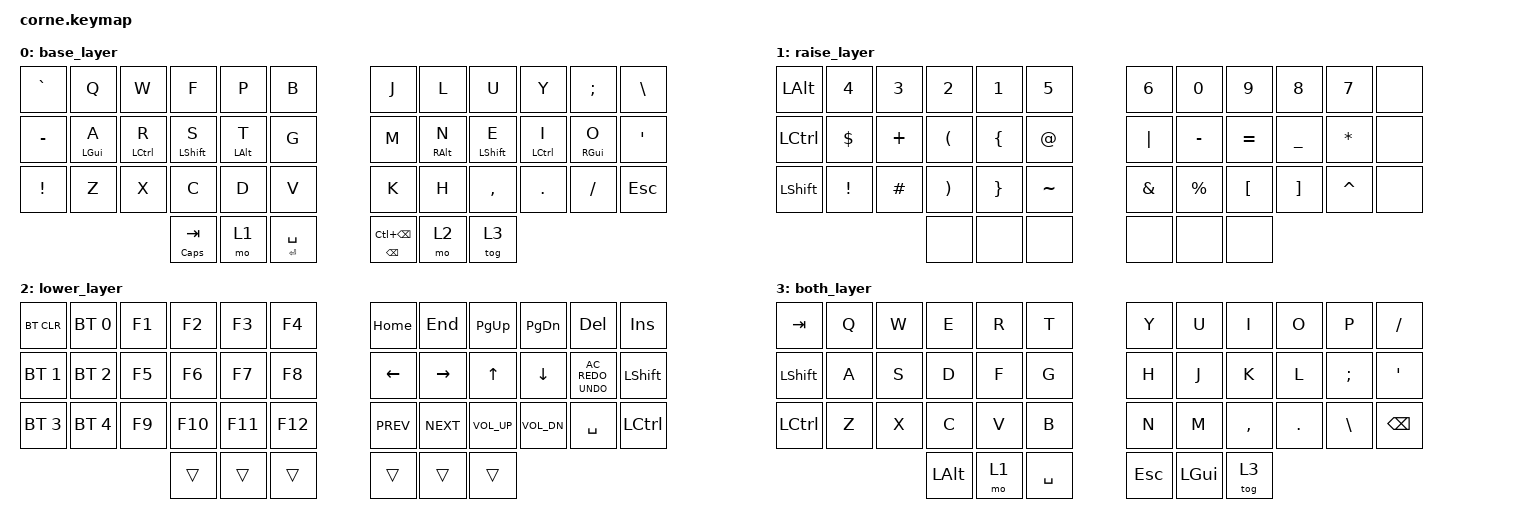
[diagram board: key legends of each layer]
/*
 * Copyright (c) 2020 The ZMK Contributors
 *
 * SPDX-License-Identifier: MIT
 */

#include <behaviors.dtsi>
#include <dt-bindings/zmk/bt.h>
#include <dt-bindings/zmk/keys.h>

#define BASE    0
#define LOWER   1
#define RAISE   2
#define QWERTY  3

&mt {
    tapping-term-ms = <500>;
};

/ {
    conditional_layers {
        compatible = "zmk,conditional-layers";

        tri_layer {
            if-layers = <0 2>;
            then-layer = <3>;
        };
    };

    macros {
        macros: macros {
            compatible = "zmk,behavior-macro";
            #binding-cells = <0>;
            bindings = <&kp LC(BACKSPACE)>, <&macro_press>;

            label = "MACROS";
        };
    };

    keymap {
        compatible = "zmk,keymap";

        base_layer {
            bindings = <
&kp GRAVE  &kp Q       &kp W        &kp F             &kp P       &kp B            &kp J                        &kp L       &kp U             &kp Y        &kp SEMI    &kp BSLH
&kp MINUS  &mt LGUI A  &mt LCTRL R  &mt LEFT_SHIFT S  &mt LALT T  &kp G            &kp M                        &mt RALT N  &mt LEFT_SHIFT E  &mt LCTRL I  &mt RGUI O  &kp SQT
&kp EXCL   &kp Z       &kp X        &kp C             &kp D       &kp V            &kp K                        &kp H       &kp COMMA         &kp DOT      &kp FSLH    &kp ESC
                                    &mt CAPS TAB      &mo 1       &mt RET SPACE    &mt BACKSPACE LC(BACKSPACE)  &mo 2       &tog 3
            >;
        };

        raise_layer {
            bindings = <
&kp LALT   &kp N4    &kp N3    &kp N2    &kp N1    &kp N5       &kp N6    &kp N0     &kp N9     &kp N8     &kp N7     &none
&kp LCTRL  &kp DLLR  &kp PLUS  &kp LPAR  &kp LBRC  &kp AT       &kp PIPE  &kp MINUS  &kp EQUAL  &kp UNDER  &kp ASTRK  &none
&kp LSHFT  &kp EXCL  &kp HASH  &kp RPAR  &kp RBRC  &kp TILDE    &kp AMPS  &kp PRCNT  &kp LBKT   &kp RBKT   &kp CARET  &none
                               &none     &none     &none        &none     &none      &none
            >;
        };

        lower_layer {
            bindings = <
&bt BT_CLR    &bt BT_SEL 0  &kp F1  &kp F2   &kp F3   &kp F4     &kp HOME    &kp END     &kp PG_UP     &kp PG_DN     &kp DEL               &kp INS
&bt BT_SEL 1  &bt BT_SEL 2  &kp F5  &kp F6   &kp F7   &kp F8     &kp LEFT    &kp RIGHT   &kp UP        &kp DOWN      &mt K_UNDO C_AC_REDO  &kp LEFT_SHIFT
&bt BT_SEL 3  &bt BT_SEL 4  &kp F9  &kp F10  &kp F11  &kp F12    &kp C_PREV  &kp C_NEXT  &kp C_VOL_UP  &kp C_VOL_DN  &kp SPACE             &kp LEFT_CONTROL
                                    &trans   &trans   &trans     &trans      &trans      &trans
            >;
        };

        both_layer {
            bindings = <
&kp TAB         &kp Q  &kp W  &kp E     &kp R  &kp T        &kp Y    &kp U     &kp I      &kp O    &kp P     &kp FSLH
&kp LEFT_SHIFT  &kp A  &kp S  &kp D     &kp F  &kp G        &kp H    &kp J     &kp K      &kp L    &kp SEMI  &kp SQT
&kp LCTRL       &kp Z  &kp X  &kp C     &kp V  &kp B        &kp N    &kp M     &kp COMMA  &kp DOT  &kp BSLH  &kp BACKSPACE
                              &kp LALT  &mo 1  &kp SPACE    &kp ESC  &kp LGUI  &tog 3
            >;
        };
    };
};
